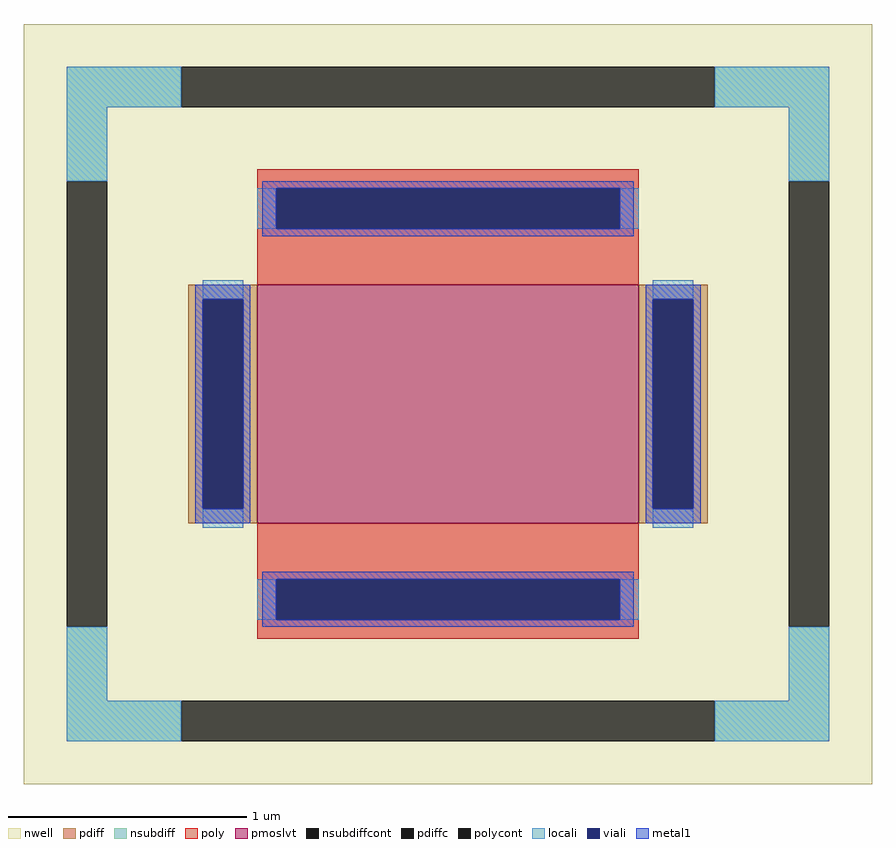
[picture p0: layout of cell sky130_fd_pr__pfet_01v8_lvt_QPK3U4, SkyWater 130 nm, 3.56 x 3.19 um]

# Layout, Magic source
magic
tech sky130A
magscale 1 2
<< nwell >>
rect -356 -319 356 319
<< pmoslvt >>
rect -160 -100 160 100
<< pdiff >>
rect -218 88 -160 100
rect -218 -88 -206 88
rect -172 -88 -160 88
rect -218 -100 -160 -88
rect 160 88 218 100
rect 160 -88 172 88
rect 206 -88 218 88
rect 160 -100 218 -88
<< pdiffc >>
rect -206 -88 -172 88
rect 172 -88 206 88
<< nsubdiff >>
rect -320 249 -224 283
rect 224 249 320 283
rect -320 187 -286 249
rect 286 187 320 249
rect -320 -249 -286 -187
rect 286 -249 320 -187
rect -320 -283 -224 -249
rect 224 -283 320 -249
<< nsubdiffcont >>
rect -224 249 224 283
rect -320 -187 -286 187
rect 286 -187 320 187
rect -224 -283 224 -249
<< poly >>
rect -160 181 160 197
rect -160 147 -144 181
rect 144 147 160 181
rect -160 100 160 147
rect -160 -147 160 -100
rect -160 -181 -144 -147
rect 144 -181 160 -147
rect -160 -197 160 -181
<< polycont >>
rect -144 147 144 181
rect -144 -181 144 -147
<< locali >>
rect -320 249 -224 283
rect 224 249 320 283
rect -320 187 -286 249
rect 286 187 320 249
rect -160 147 -144 181
rect 144 147 160 181
rect -206 88 -172 104
rect -206 -104 -172 -88
rect 172 88 206 104
rect 172 -104 206 -88
rect -160 -181 -144 -147
rect 144 -181 160 -147
rect -320 -249 -286 -187
rect 286 -249 320 -187
rect -320 -283 -224 -249
rect 224 -283 320 -249
<< viali >>
rect -144 147 144 181
rect -206 -88 -172 88
rect 172 -88 206 88
rect -144 -181 144 -147
<< metal1 >>
rect -156 181 156 187
rect -156 147 -144 181
rect 144 147 156 181
rect -156 141 156 147
rect -212 88 -166 100
rect -212 -88 -206 88
rect -172 -88 -166 88
rect -212 -100 -166 -88
rect 166 88 212 100
rect 166 -88 172 88
rect 206 -88 212 88
rect 166 -100 212 -88
rect -156 -147 156 -141
rect -156 -181 -144 -147
rect 144 -181 156 -147
rect -156 -187 156 -181
<< properties >>
string FIXED_BBOX -303 -266 303 266
string gencell sky130_fd_pr__pfet_01v8_lvt
string library sky130
string parameters w 1.0 l 1.6 m 1 nf 1 diffcov 100 polycov 100 guard 1 glc 1 grc 1 gtc 1 gbc 1 tbcov 100 rlcov 100 topc 1 botc 1 poverlap 0 doverlap 1 lmin 0.35 wmin 0.42 class mosfet compatible {sky130_fd_pr__pfet_01v8  sky130_fd_pr__pfet_01v8_lvt sky130_fd_pr__pfet_01v8_hvt  sky130_fd_pr__pfet_g5v0d10v5} full_metal 1 viasrc 100 viadrn 100 viagate 100 viagb 0 viagr 0 viagl 0 viagt 0
<< end >>
